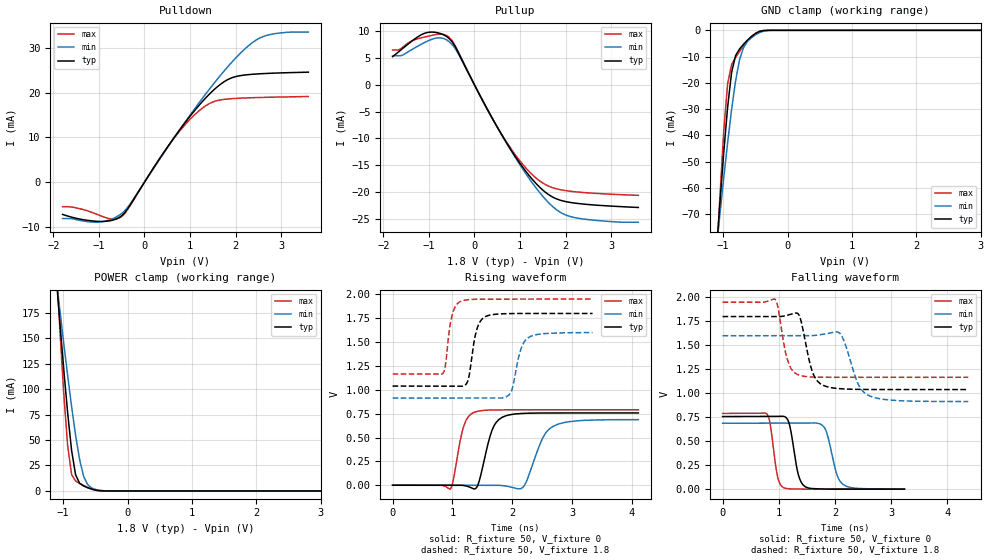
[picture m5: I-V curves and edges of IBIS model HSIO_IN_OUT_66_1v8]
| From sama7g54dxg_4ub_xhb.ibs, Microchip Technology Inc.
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|   Model   HSIO_IN_OUT_66
[Model] HSIO_IN_OUT_66_1v8
Model_type I/O
Enable   Active-High
Vinl  =  0.54
Vinh  =  1.26
Vmeas =  0.900
| Capacitance   typ   min   max
C_comp   1.177640254581743e-12   1.127359926907533e-12   1.248152577014627e-12
| Variables   typ   min   max
[GND Clamp Reference]   0   0   0
[POWER Clamp Reference]   1.8   1.6   1.95
[Pulldown Reference]   0   0   0
[Pullup Reference]   1.8   1.6   1.95
[Temperature Range]   25   125   -40
[Voltage Range]   1.8   1.6   1.95
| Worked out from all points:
|   slope of the pulldown table from 0 to 0.27 V, typ, clamps not added: 63.1 ohm
|   slope of the pullup table from 0 to 0.27 V, typ, clamps not added: 61.8 ohm
|   GND clamp passes 1 mA (typ) near -0.48 V on its own axis
|   POWER clamp passes 1 mA (typ) near -0.51 V on its own axis
|   falling waveform, R_fixture 50, V_fixture 0: 20-80 % time 133ps typ, 172ps min, 109ps max; typ from 0.758 V to 0.001 V
|   falling waveform, R_fixture 50, V_fixture 1.8: 20-80 % time 184ps typ, 248ps min, 155ps max; typ from 1.8 V to 1.04 V
|   rising waveform, R_fixture 50, V_fixture 0: 20-80 % time 192ps typ, 267ps min, 152ps max; typ from 0 V to 0.757 V
|   rising waveform, R_fixture 50, V_fixture 1.8: 20-80 % time 124ps typ, 151ps min, 104ps max; typ from 1.04 V to 1.8 V
[GND Clamp]
| Voltage   I(typ)   I(min)   I(max)
-1.8V     -342.3mA   -209.2mA   -383.3mA
-1.117V   -88.39mA   -86.15mA   -95.55mA
-1.055V   -67.21mA   -71.19mA   -65.5mA
-993.1mV  -47.19mA   -56.68mA   -39.13mA
-931mV    -29.34mA   -42.9mA    -20.4mA
-869mV    -16.01mA   -30.18mA   -13.03mA
-806.9mV  -9.618mA   -19.22mA   -10.3mA
-744.8mV  -7.072mA   -11.14mA   -8.013mA
-682.8mV  -5.281mA   -6.497mA   -5.883mA
-496.6mV  -1.194mA   -1.68mA    -1.075mA
-248.3mV  -1.216uA   -21.25uA   -194.8nA
3.6V      0A         0A         0A
[POWER Clamp]
| Voltage   I(typ)   I(min)   I(max)
-1.8V     802.5mA    491.9mA    900.5mA
-1.117V   217.9mA    214.2mA    234.3mA
-1.055V   168.5mA    179.8mA    163.3mA
-993.1mV  121.1mA    146.2mA    97.87mA
-931mV    77.14mA    113.8mA    44.82mA
-869mV    39.81mA    82.91mA    16.05mA
-806.9mV  15.88mA    54.71mA    9.814mA
-744.8mV  7.567mA    31.01mA    7.329mA
-682.8mV  4.949mA    14.52mA    5.17mA
-558.6mV  1.852mA    2.929mA    1.709mA
-372.4mV  33.21uA    209.1uA    14.39uA
3.6V      0A         0A         0A
[Pulldown]
| Voltage   I(typ)   I(min)   I(max)
-1.8V     -7.211mA   -8.14mA    -5.479mA
-993.1mV  -8.778mA   -8.921mA   -7.398mA
-682.8mV  -8.456mA   -8.103mA   -8.272mA
-496.6mV  -7.464mA   -6.967mA   -7.658mA
-310.3mV  -5.027mA   -4.819mA   -5.146mA
620.7mV   9.541mA    9.465mA    9.447mA
993.1mV   14.64mA    14.87mA    13.97mA
1.366V    19.06mA    19.99mA    17.22mA
1.862V    23.1mA     26.18mA    18.63mA
2.483V    24.2mA     31.96mA    18.92mA
2.917V    24.41mA    33.28mA    19.02mA
3.6V      24.6mA     33.56mA    19.16mA
[Pullup]
| Voltage   I(typ)   I(min)   I(max)
-1.8V     5.269mA    5.451mA    6.502mA
-1.614V   6.545mA    5.451mA    6.765mA
-1.117V   9.569mA    7.829mA    8.889mA
-806.9mV  9.729mA    8.78mA     9.454mA
-620.7mV  9.078mA    8.444mA    9.244mA
-372.4mV  6.32mA     6.075mA    6.44mA
620.7mV   -9.637mA   -9.635mA   -9.554mA
993.1mV   -14.56mA   -14.84mA   -14.13mA
1.366V    -18.53mA   -19.38mA   -17.48mA
1.738V    -21.03mA   -22.85mA   -19.25mA
2.048V    -21.86mA   -24.42mA   -19.79mA
3.6V      -22.88mA   -25.63mA   -20.62mA
[Ramp]
dV/dt_r   0.454561/0.19248n  0.412712/0.26767n  0.474221/0.152429n
dV/dt_f   0.456786/0.184334n  0.412019/0.247869n  0.470402/0.155634n
R_load = 50
[Falling Waveform]
R_fixture = 50
V_fixture = 0
V_fixture_min = 0
V_fixture_max = 0
| Time   V(typ)   V(min)   V(max)
0s        757.6mV    687.9mV    790.4mV
790.3ps   758.2mV    688.1mV    783.4mV
980.8ps   759mV      688.2mV    126.8mV
1.092ns   758.9mV    688.2mV    14.54mV
1.195ns   663.9mV    688.3mV    3.89mV
1.348ns   152.6mV    688.3mV    1.195mV
1.472ns   25.19mV    688.4mV    577.9uV
1.824ns   1.848mV    630.5mV    429.6uV
2.149ns   972.6uV    48.3mV     429.2uV
3.237ns   969.6uV    661.4uV    427.9uV
[Falling Waveform]
R_fixture = 50
V_fixture = 1.8
V_fixture_min = 1.6
V_fixture_max = 1.95
| Time   V(typ)   V(min)   V(max)
0s        1.8V       1.6V       1.95V
932.2ps   1.799V     1.6V       1.98V
1.15ns    1.814V     1.6V       1.357V
1.39ns    1.768V     1.6V       1.184V
1.586ns   1.244V     1.601V     1.17V
1.791ns   1.082V     1.615V     1.167V
2.098ns   1.047V     1.619V     1.167V
2.43ns    1.041V     1.075V     1.167V
2.625ns   1.04V      970.6mV    1.167V
4.373ns   1.039V     913.7mV    1.167V
[Rising Waveform]
R_fixture = 50
V_fixture = 0
V_fixture_min = 0
V_fixture_max = 0
| Time   V(typ)   V(min)   V(max)
0s        1.521nV    259.3nV    41.98pV
963ps     691.5uV    -188.4uV   -40.35mV
1.184ns   -2.044mV   -231.7uV   607.7mV
1.38ns    -36.83mV   -270.1uV   767.1mV
1.663ns   576mV      -325.6uV   788.4mV
1.832ns   711.4mV    -3.593mV   789.8mV
2.184ns   752.5mV    -19.13mV   789.8mV
2.503ns   756.6mV    485.1mV    789.8mV
2.685ns   757.2mV    617.5mV    789.8mV
4.109ns   757.2mV    687.4mV    789.8mV
[Rising Waveform]
R_fixture = 50
V_fixture = 1.8
V_fixture_min = 1.6
V_fixture_max = 1.95
| Time   V(typ)   V(min)   V(max)
0s        1.039V     913.3mV    1.166V
841.7ps   1.038V     913mV      1.172V
992.1ps   1.038V     912.9mV    1.773V
1.157ns   1.037V     912.8mV    1.931V
1.268ns   1.111V     912.8mV    1.944V
1.425ns   1.664V     912.7mV    1.948V
1.557ns   1.768V     912.7mV    1.949V
1.971ns   1.798V     965.8mV    1.949V
2.274ns   1.799V     1.548V     1.949V
3.344ns   1.799V     1.599V     1.95V
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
